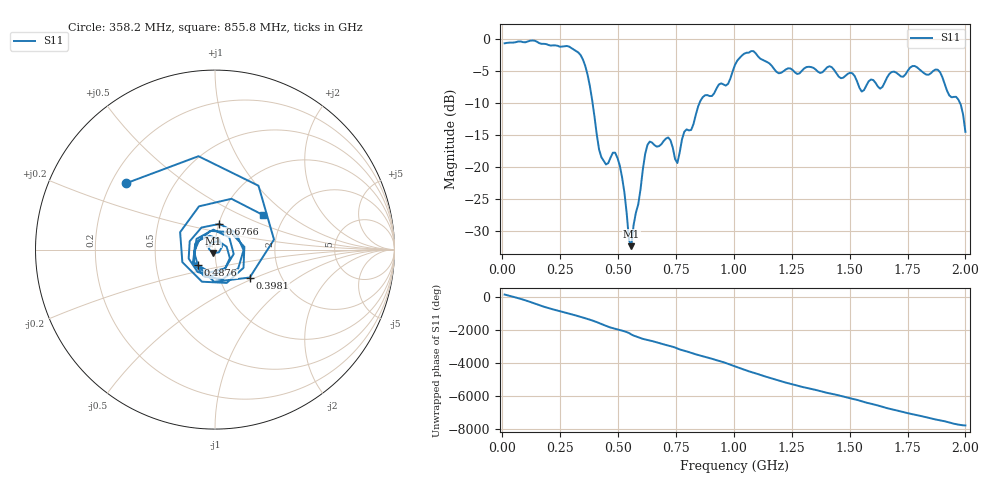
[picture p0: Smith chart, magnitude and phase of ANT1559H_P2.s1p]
!Created with skrf (http://scikit-rf.org).
# Hz S RI R 50.0
!freq ReS11 ImS11
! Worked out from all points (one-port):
!   201 points, 10 MHz to 2 GHz, reference 50 ohm
!   lowest |S11| = -32.4 dB at 557.2 MHz (marker M1), VSWR 1.05, Z = 48.7 - j1.97 ohm
!   |S11| at or under -10 dB: 389.9 MHz to 851.7 MHz (461.8 MHz wide, 74.4 % of centre); 1.977 GHz to end of sweep
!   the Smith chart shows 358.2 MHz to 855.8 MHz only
!   S11 on the Smith chart (normalised r, x): 358.2 MHz: 0.26, +0.31; 398.1 MHz: 1.39, -0.46; 487.6 MHz: 0.81, -0.14; 676.6 MHz: 1.01, +0.29; 855.8 MHz: 1.55, +0.67
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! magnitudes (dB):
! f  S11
! 10 MHz  -0.6
! 258.8 MHz  -1.1
! 358.2 MHz  -4.2
! 398.1 MHz  -12.1
! 427.9 MHz  -18.5
! 487.6 MHz  -17.8
! 507.5 MHz  -19.8
! 527.4 MHz  -24.0
! 547.3 MHz  -31.5
! 557.2 MHz  -32.4
! 626.9 MHz  -16.6
! 676.6 MHz  -16.8
! 716.5 MHz  -15.4
! 756.2 MHz  -19.4
! 786.1 MHz  -14.5
! 816 MHz  -14.2
! 855.8 MHz  -9.6
! 975.1 MHz  -7.0
! 1.005 GHz  -4.0
! 1.085 GHz  -1.9
! 1.194 GHz  -5.3
! 1.254 GHz  -4.8
! 1.502 GHz  -5.2
! 1.552 GHz  -8.2
! 1.751 GHz  -4.9
! 1.881 GHz  -4.8
! 1.98 GHz  -10.3
! 2 GHz  -14.5
